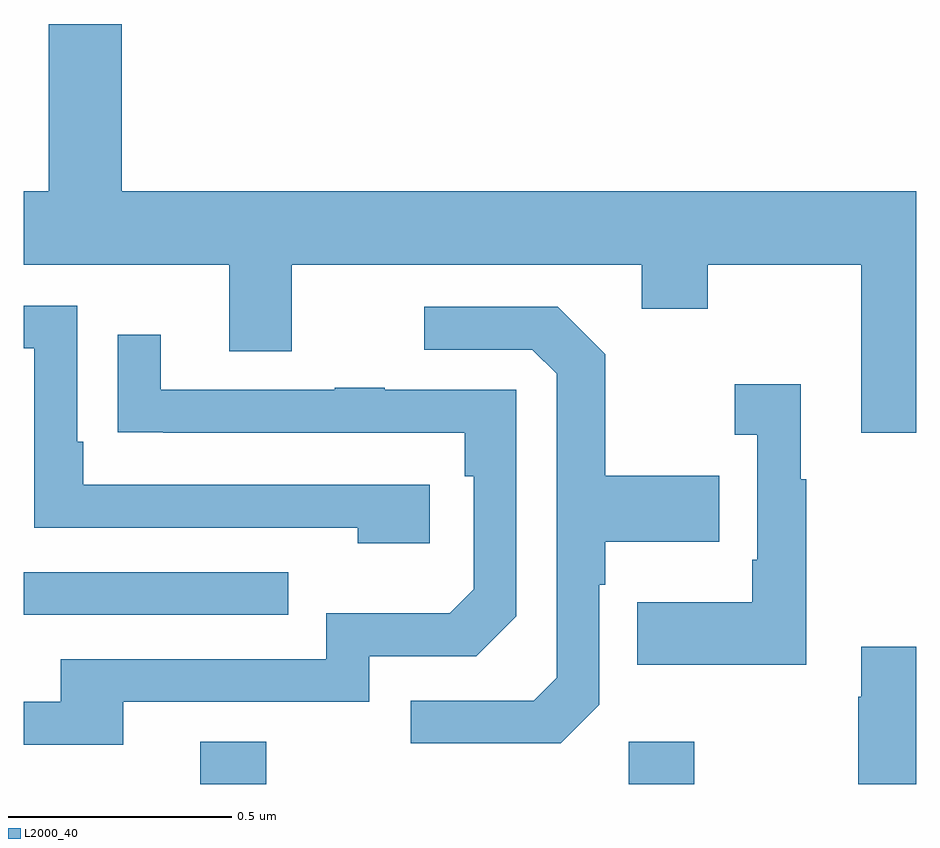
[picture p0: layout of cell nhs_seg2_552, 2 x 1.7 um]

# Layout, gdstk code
import gdstk
lib = gdstk.Library(unit=1e-6, precision=1e-09)
def R(c, l, rs):  # rectangles x0, y0, x1, y1
    for r in rs: c.add(gdstk.rectangle(r[:2], r[2:], *l))
def P(c, l, *ps):  # polygons
    for p in ps: c.add(gdstk.Polygon(p, *l))
L2000_40 = (2000, 40)

nhs_seg2_552 = lib.new_cell('nhs_seg2_552')
R(nhs_seg2_552, L2000_40, [(117.395,651.8,117.543,651.895), (118.356,651.8,118.503,651.895), (117,652.179,117.593,652.275)])
P(nhs_seg2_552, L2000_40, [(119,653.128),(117.22,653.128),(117.22,653.503),(117.056,653.503),(117.056,653.128),(117,653.128),(117,652.964),(117.461,652.964),(117.461,652.77),(117.601,652.77),(117.601,652.964),(118.385,652.964),(118.385,652.865),(118.533,652.865),(118.533,652.964),(118.877,652.964),(118.877,652.587),(119,652.587)],
  [(117.91,652.47),(117.133,652.47),(117.133,652.567),(117.12,652.567),(117.12,652.872),(117,652.872),(117,652.776),(117.024,652.776),(117.024,652.374),(117.749,652.374),(117.749,652.34),(117.91,652.34)],
  [(118.29,651.978),(118.29,652.247),(118.303,652.247),(118.303,652.343),(118.559,652.343),(118.559,652.491),(118.303,652.491),(118.303,652.763),(118.197,652.869),(117.897,652.869),(117.897,652.773),(118.14,652.773),(118.194,652.719),(118.194,652.038),(118.143,651.987),(117.867,651.987),(117.867,651.891),(118.203,651.891)],
  [(117.223,651.984),(117.774,651.984),(117.774,652.086),(118.014,652.086),(118.104,652.176),(118.104,652.683),(117.809,652.683),(117.809,652.688),(117.697,652.688),(117.697,652.683),(117.307,652.683),(117.307,652.807),(117.211,652.807),(117.211,652.588),(117.313,652.588),(117.313,652.587),(117.988,652.587),(117.988,652.49),(118.008,652.49),(118.008,652.236),(117.955,652.183),(117.678,652.183),(117.678,652.08),(117.083,652.08),(117.083,651.984),(117,651.984),(117,651.888),(117.223,651.888)],
  [(118.753,652.483),(118.741,652.483),(118.741,652.696),(118.593,652.696),(118.593,652.583),(118.644,652.583),(118.644,652.303),(118.632,652.303),(118.632,652.207),(118.375,652.207),(118.375,652.067),(118.753,652.067)],
  [(119,652.108),(118.877,652.108),(118.877,651.995),(118.87,651.995),(118.87,651.8),(119,651.8)])

lib.write_gds('nhs_seg2_552.gds')
